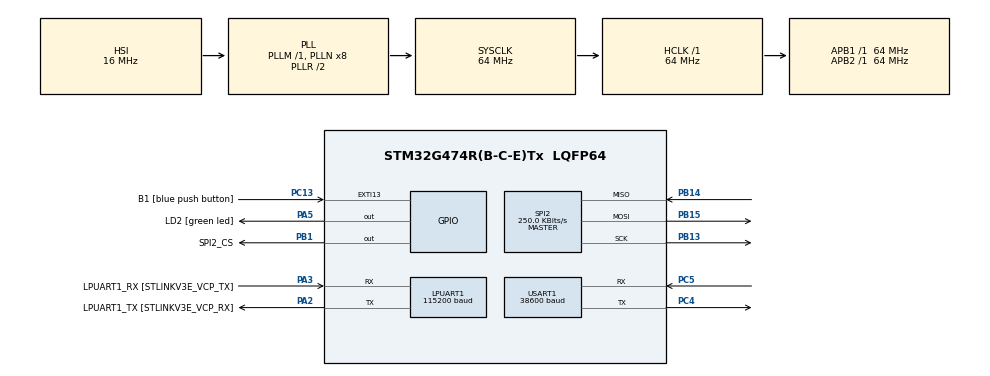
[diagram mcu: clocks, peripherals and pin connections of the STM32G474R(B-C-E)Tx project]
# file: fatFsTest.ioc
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FATFS._MAX_SS=4096
LPUART1.BaudRate=115200
Mcu.Family=STM32G4
Mcu.Name=STM32G474R(B-C-E)Tx
Mcu.Package=LQFP64
NVIC.EXTI15_10_IRQn=true\:0\:0\:false\:false\:true\:true\:true\:true
NVIC.LPUART1_IRQn=true\:0\:0\:false\:false\:true\:true\:true\:true
NVIC.PriorityGroup=NVIC_PRIORITYGROUP_4
NVIC.USART1_IRQn=true\:0\:0\:false\:false\:true\:true\:true\:true
PA13.GPIO_Label=T_SWDIO
PA13.Mode=Serial_Wire
PA13.Signal=SYS_JTMS-SWDIO
PA14.GPIO_Label=T_SWCLK
PA14.Mode=Serial_Wire
PA14.Signal=SYS_JTCK-SWCLK
PA2.GPIO_Label=LPUART1_TX [STLINKV3E_VCP_RX]
PA2.Mode=Asynchronous
PA2.Signal=LPUART1_TX
PA3.GPIO_Label=LPUART1_RX [STLINKV3E_VCP_TX]
PA3.Mode=Asynchronous
PA3.Signal=LPUART1_RX
PA5.GPIO_Label=LD2 [green led]
PA5.Signal=GPIO_Output
PB1.GPIO_Label=SPI2_CS
PB1.GPIO_PuPd=GPIO_PULLUP
PB1.PinState=GPIO_PIN_SET
PB1.Signal=GPIO_Output
PB13.GPIO_PuPd=GPIO_NOPULL
PB13.Mode=Full_Duplex_Master
PB13.Signal=SPI2_SCK
PB14.GPIO_PuPd=GPIO_NOPULL
PB14.Mode=Full_Duplex_Master
PB14.Signal=SPI2_MISO
PB15.GPIO_PuPd=GPIO_NOPULL
PB15.Mode=Full_Duplex_Master
PB15.Signal=SPI2_MOSI
PB3.GPIO_Label=T_SWO
PB3.Signal=SYS_JTDO-SWO
PC13.GPIO_Label=B1 [blue push button]
PC13.Signal=GPXTI13
PC14-OSC32_IN.GPIO_Label=RCC_OSC32_IN
PC14-OSC32_IN.Signal=RCC_OSC32_IN
PC15-OSC32_OUT.GPIO_Label=RCC_OSC32_OUT
PC15-OSC32_OUT.Signal=RCC_OSC32_OUT
PC4.Mode=Asynchronous
PC4.Signal=USART1_TX
PC5.Mode=Asynchronous
PC5.Signal=USART1_RX
PF0-OSC_IN.GPIO_Label=RCC_OSC_IN
PF0-OSC_IN.Signal=RCC_OSC_IN
PF1-OSC_OUT.GPIO_Label=RCC_OSC_OUT
PF1-OSC_OUT.Signal=RCC_OSC_OUT
ProjectManager.HeapSize=0x200
ProjectManager.StackSize=0x400
ProjectManager.TargetToolchain=STM32CubeIDE
RCC.ADC12Freq_Value=64000000
RCC.ADC345Freq_Value=64000000
RCC.AHBFreq_Value=64000000
RCC.APB1Freq_Value=64000000
RCC.APB1TimFreq_Value=64000000
RCC.APB2Freq_Value=64000000
RCC.APB2TimFreq_Value=64000000
RCC.CortexFreq_Value=64000000
RCC.EXTERNAL_CLOCK_VALUE=12288000
RCC.HCLKFreq_Value=64000000
RCC.HSE_VALUE=24000000
RCC.HSI48_VALUE=48000000
RCC.HSI_VALUE=16000000
RCC.LSE_VALUE=32768
RCC.RTCClockSelection=RCC_RTCCLKSOURCE_LSE
RCC.SYSCLKFreq_VALUE=64000000
RCC.SYSCLKSource=RCC_SYSCLKSOURCE_PLLCLK
RCC.USBFreq_Value=64000000
RCC.VCOOutputFreq_Value=128000000
SPI2.BaudRatePrescaler=SPI_BAUDRATEPRESCALER_256
SPI2.CalculateBaudRate=250.0 KBits/s
SPI2.DataSize=SPI_DATASIZE_8BIT
SPI2.Direction=SPI_DIRECTION_2LINES
SPI2.Mode=SPI_MODE_MASTER
SPI2.VirtualType=VM_MASTER
USART1.BaudRate=38600
USART1.VirtualMode-Asynchronous=VM_ASYNC
VP_FATFS_VS_Generic.Mode=User_defined
VP_SYS_VS_DBSignals.Mode=DisableDeadBatterySignals
board=NUCLEO-G474RE

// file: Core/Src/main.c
/* USER CODE BEGIN Header */
/**
  ******************************************************************************
  * @file           : main.c
  * @brief          : Main program body
  ******************************************************************************
  * @attention
  *
  * Copyright (c) 2025 STMicroelectronics.
  * All rights reserved.
  *
  * This software is licensed under terms that can be found in the LICENSE file
  * in the root directory of this software component.
  * If no LICENSE file comes with this software, it is provided AS-IS.
  *
  ******************************************************************************
  */
/* USER CODE END Header */
#include "main.h"
#include "app_fatfs.h"
#include "usart.h"
#include "spi.h"
#include "gpio.h"

/* USER CODE BEGIN Includes */
#include "string.h"
#include "stdio.h"
#include "stdarg.h"
/* USER CODE END Includes */

/* USER CODE BEGIN PD */
//#define RX_BUFFER_SIZE 32768
#define RX_BUFFER_SIZE 1024
/* USER CODE END PD */

/* USER CODE BEGIN PV */

//for SD card
void myprintf(const char *fmt, ...);

extern UART_HandleTypeDef hlpuart1;
extern UART_HandleTypeDef huart1;
uint8_t rxLPUART;
uint8_t rxUSART;
char msg[64];
uint8_t msg_index = 0;
uint8_t extiFlag = 0;

uint8_t uart_rx_byte;
uint8_t uart_rx_buffer[RX_BUFFER_SIZE];
volatile uint16_t rx_head = 0;
volatile uint16_t rx_tail = 0;
volatile uint8_t bufferOverflow = 0;
char msg_buffer[64];

char rxBuffer[128];
char txBuffer[16];

/* Variáveis de dados */
float fuelRate = 0.0f;
float fuelLevel = 0.0f;
float engineTorque = 0.0f;
float engineLoad = 0.0f;
float rpm = 0.0f;
float speed = 0.0f;
float gear = 0.0f;
float throttle = 0.0f;
/* USER CODE END PV */

void SystemClock_Config(void);
/* USER CODE BEGIN PFP */
HAL_StatusTypeDef ELM327_SendCmd(UART_HandleTypeDef *huart, const char *cmd)
{
    char rx;
    char buffer[64];
    uint8_t index = 0;
    uint32_t start;

    // Envia comando
    HAL_UART_Transmit(huart, (uint8_t*)cmd, strlen(cmd), HAL_MAX_DELAY);

    start = HAL_GetTick();
    while (HAL_GetTick() - start < 1000)  // Timeout 1s
    {
        if (HAL_UART_Receive(huart, (uint8_t*)&rx, 1, 10) == HAL_OK)
        {
            if (index < sizeof(buffer)-1)
                buffer[index++] = rx;

            // Verifica se buffer termina com "OK\r"
            if (index >= 3)
            {
                if (buffer[index-3] == 'O' &&
                    buffer[index-2] == 'K' &&
                    buffer[index-1] == '\r')
                {
                    // OK recebido
                    HAL_UART_Transmit(&hlpuart1, (uint8_t*)buffer, index, HAL_MAX_DELAY);
                    return HAL_OK;
                }
            }
        }
    }

    // Timeout
    HAL_UART_Transmit(&hlpuart1, (uint8_t*)"Timeout ELM327\r\n", 17, HAL_MAX_DELAY);
    return HAL_TIMEOUT;
}

int OBD_ReceiveLine(UART_HandleTypeDef *huart, char *buffer, uint16_t maxlen, uint32_t timeout)
{ uint8_t c; uint16_t i = 0;
uint32_t start = HAL_GetTick();
while (HAL_GetTick() - start < timeout)
{
	if (HAL_UART_Receive(huart, &c, 1, 100) == HAL_OK)
	{
		if (c == '>') break; // prompt do ELM327 if (i < maxlen - 1) buffer[i++] = c; } } buffer[i] = '\0'; return i; }
	}
}
}

// inicia ELM327
void ELM327_Init_Debug(UART_HandleTypeDef *huart)
{
    //const char *init_cmds[] = {"ATZ\r", "ATE0\r", "ATL0\r", "ATS0\r", "ATSP0\r"};
    const char *init_cmds[] = {"ATZ\r"};
    for (uint8_t i = 0; i < sizeof(init_cmds)/sizeof(init_cmds[0]); i++)
    {
    	ELM327_SendCmd(huart, init_cmds[i]);
    	HAL_Delay(500);
    }

    HAL_UART_Transmit(&hlpuart1, (uint8_t*)"ELM327 inicializado com sucesso!\r\n", 35, HAL_MAX_DELAY);
}

/* Conversão hexadecimal -> byte */
uint8_t hexToByte(const char *hex)
{
    uint8_t val = 0;
    for (int i = 0; i < 2; i++)
    {
        char c = hex[i];
        val <<= 4;
        if (c >= '0' && c <= '9') val |= c - '0';
        else if (c >= 'A' && c <= 'F') val |= c - 'A' + 10;
        else if (c >= 'a' && c <= 'f') val |= c - 'a' + 10;
    }
    return val;
}

/**
 * @brief Envia comando OBD-II para o ELM327 (ex: "010C")
 */
void OBD_SendCommand(UART_HandleTypeDef *huart, const char *pid)
{
    char cmd[8];
    snprintf(cmd, sizeof(cmd), "%s\r", pid);
    HAL_UART_Transmit(huart, (uint8_t*)cmd, strlen(cmd), HAL_MAX_DELAY);
}

/* Envia PID e faz parsing */
void OBD_RequestAndParse(const char *pid)
{
    char cmd[8];
    sprintf(cmd, "%s\r", pid);

    HAL_UART_Transmit(&huart1, (uint8_t*)cmd, strlen(cmd), HAL_MAX_DELAY);

    memset(rxBuffer, 0, sizeof(rxBuffer));
    OBD_ReceiveLine(&huart1, rxBuffer, sizeof(rxBuffer), 200);

    char A_hex[3] = {0}, B_hex[3] = {0};
    uint8_t A = 0, B = 0;

    if (strncmp(pid, "015E", 4) == 0)  // Taxa combustível
    {
        if (sscanf(rxBuffer, "41 5E %2s %2s", A_hex, B_hex) == 2)
        {
            A = hexToByte(A_hex); B = hexToByte(B_hex);
            fuelRate = ((A * 256.0f) + B) / 20.0f;
        }
    }
    else if (strncmp(pid, "012F", 4) == 0) // Nível tanque
    {
        if (sscanf(rxBuffer, "41 2F %2s", A_hex) == 1)
            fuelLevel = (hexToByte(A_hex) * 100.0f) / 255.0f;
    }
    else if (strncmp(pid, "0161", 4) == 0) // Torque
    {
        if (sscanf(rxBuffer, "41 61 %2s %2s", A_hex, B_hex) == 2)
        {
            A = hexToByte(A_hex); B = hexToByte(B_hex);
            engineTorque = ((A * 256.0f) + B) / 10.0f;
        }
    }
    else if (strncmp(pid, "0104", 4) == 0) // Carga do motor
    {
        if (sscanf(rxBuffer, "41 04 %2s", A_hex) == 1)
            engineLoad = (hexToByte(A_hex) * 100.0f) / 255.0f;
    }
    else if (strncmp(pid, "010C", 4) == 0) // RPM
    {
        if (sscanf(rxBuffer, "41 0C %2s %2s", A_hex, B_hex) == 2)
        {
            A = hexToByte(A_hex); B = hexToByte(B_hex);
            rpm = ((A * 256.0f) + B) / 4.0f;
        }
    }
    else if (strncmp(pid, "010D", 4) == 0) // Velocidade
    {
        if (sscanf(rxBuffer, "41 0D %2s", A_hex) == 1)
            speed = hexToByte(A_hex);
    }
    else if (strncmp(pid, "01A4", 4) == 0) // Engrenagem atual
    {
        if (sscanf(rxBuffer, "41 A4 %2s", A_hex) == 1)
            gear = hexToByte(A_hex);
    }
    else if (strncmp(pid, "0111", 4) == 0) // Acelerador
    {
        if (sscanf(rxBuffer, "41 11 %2s", A_hex) == 1)
            throttle = (hexToByte(A_hex) * 100.0f) / 255.0f;
    }
}

/* USER CODE END PFP */

/* USER CODE BEGIN 0 */

void myprintf(const char *fmt, ...) {
  static char buffer[256];
  va_list args;
  va_start(args, fmt);
  vsnprintf(buffer, sizeof(buffer), fmt, args);
  va_end(args);

  int len = strlen(buffer);
  HAL_UART_Transmit(&hlpuart1, (uint8_t*)buffer, len, -1);

}

//const char *obd_cmds[] = {"010C\r", "010D\r", "0111\r"};
//#define NUM_CMDS (sizeof(obd_cmds) / sizeof(obd_cmds[0]))
/* USER CODE END 0 */

int main(void)
{

  /* MCU Configuration--------------------------------------------------------*/

  /* Reset of all peripherals, Initializes the Flash interface and the Systick. */
  HAL_Init();

  /* Configure the system clock */
  SystemClock_Config();

  /* Initialize all configured peripherals */
  MX_GPIO_Init();
  MX_LPUART1_UART_Init();
  MX_USART1_UART_Init();
  MX_SPI2_Init();
  if (MX_FATFS_Init() != APP_OK) {
    Error_Handler();
  }
  /* USER CODE BEGIN 2 */

  //char *msg = "Bridge UART1 <-> LPUART1 iniciada\r\n";
  //HAL_UART_Transmit(&hlpuart1, (uint8_t*)msg, strlen(msg), HAL_MAX_DELAY);

  /* Inicia recepção em ambas UARTs */
  HAL_UART_Receive_IT(&hlpuart1, &rxLPUART, 1);
  HAL_UART_Receive_IT(&huart1, &rxUSART, 1);

  /* Inicializa o ELM327 antes de iniciar os comandos OBD */
  ELM327_Init_Debug(&huart1);

  //uint32_t tick_ant = HAL_GetTick();
  //uint8_t cmd_index = 0;

  //char debug[128];
  //const char *pids[] = {"015E", "012F", "0161", "0104", "010C", "010D", "01A4", "0111"};
  const char *pids[] = {"010C"};
  const uint8_t num_pids = sizeof(pids) / sizeof(pids[0]);

  uint32_t lastTick = HAL_GetTick();

  myprintf("\r\n~ SD card demo by kiwih ~\r\n\r\n");

    HAL_Delay(2000); //a short delay is important to let the SD card settle

//    //some variables for FatFs
//    FATFS FatFs; 	//Fatfs handle
//    FIL fil; 		//File handle
//    FRESULT fres; //Result after operations
//
//    //Open the file system
//    fres = f_mount(&FatFs, "", 1); //1=mount now
//    if (fres != FR_OK) {
//  	myprintf("f_mount error (%i)\r\n", fres);
//  	while(1);
//    }
//
//    //Let's get some statistics from the SD card
//    DWORD free_clusters, free_sectors, total_sectors;
//
//    FATFS* getFreeFs;
//
//    fres = f_getfree("", &free_clusters, &getFreeFs);
//    if (fres != FR_OK) {
//  	myprintf("f_getfree error (%i)\r\n", fres);
//  	while(1);
//    }
//
//    //Formula comes from ChaN's documentation
//    total_sectors = (getFreeFs->n_fatent - 2) * getFreeFs->csize;
//    free_sectors = free_clusters * getFreeFs->csize;
//
//    myprintf("SD card stats:\r\n%10lu KiB total drive space.\r\n%10lu KiB available.\r\n", total_sectors / 2, free_sectors / 2);
//
//    //Now let's try to open file "test.txt"
//    fres = f_open(&fil, "test.txt", FA_READ);
//    if (fres != FR_OK) {
//  	myprintf("f_open error (%i)\r\n", fres);
//  	while(1);
//    }
//    myprintf("I was able to open 'test.txt' for reading!\r\n");
//
//    //Read 30 bytes from "test.txt" on the SD card
//    BYTE readBuf[30];
//
//    //We can either use f_read OR f_gets to get data out of files
//    //f_gets is a wrapper on f_read that does some string formatting for us
//    TCHAR* rres = f_gets((TCHAR*)readBuf, 30, &fil);
//    if(rres != 0) {
//  	myprintf("Read string from 'test.txt' contents: %s\r\n", readBuf);
//    } else {
//  	myprintf("f_gets error (%i)\r\n", fres);
//    }
//
//    //Be a tidy kiwi - don't forget to close your file!
//    f_close(&fil);
//
//    //Now let's try and write a file "write.txt"
//    fres = f_open(&fil, "write.txt", FA_WRITE | FA_OPEN_ALWAYS | FA_CREATE_ALWAYS);
//    if(fres == FR_OK) {
//  	myprintf("I was able to open 'write.txt' for writing\r\n");
//    } else {
//  	myprintf("f_open error (%i)\r\n", fres);
//    }
//
//    //Copy in a string
//    strncpy((char*)readBuf, "a new file is made!", 19);
//    UINT bytesWrote;
//    fres = f_write(&fil, readBuf, 19, &bytesWrote);
//    if(fres == FR_OK) {
//  	myprintf("Wrote %i bytes to 'write.txt'!\r\n", bytesWrote);
//    } else {
//  	myprintf("f_write error (%i)\r\n", fres);
//    }
//
//    //Be a tidy kiwi - don't forget to close your file!
//    f_close(&fil);
//
//    //We're done, so de-mount the drive
//    f_mount(NULL, "", 0);

  /* USER CODE END 2 */

  /* Infinite loop */
  /* USER CODE BEGIN WHILE */
  while (1)
  {
      if (HAL_GetTick() - lastTick >= 1000)
      {
          lastTick = HAL_GetTick();

          for (uint8_t i = 0; i < num_pids; i++)
              OBD_RequestAndParse(pids[i]);

//          sprintf(debug,
//        		  "\r\nFuelRate: %.2f L/h | FuelLvl: %.1f %% | Torque: %.1f Nm | Load: %.1f %% | RPM: %.0f | Vel: %.0f km/h | Gear: %.0f | Throttle: %.1f %%\r\n", // @suppress("Float formatting support")
//              fuelRate, fuelLevel, engineTorque, engineLoad, rpm, speed, gear, throttle);

          //HAL_UART_Transmit(&hlpuart1, (uint8_t*)debug, strlen(debug), HAL_MAX_DELAY);
      }
	extiFlag = 0;
    /* USER CODE END WHILE */

  }
}

void SystemClock_Config(void)
{
  RCC_OscInitTypeDef RCC_OscInitStruct = {0};
  RCC_ClkInitTypeDef RCC_ClkInitStruct = {0};

  /** Configure the main internal regulator output voltage
  */
  HAL_PWREx_ControlVoltageScaling(PWR_REGULATOR_VOLTAGE_SCALE1);

  /** Initializes the RCC Oscillators according to the specified parameters
  * in the RCC_OscInitTypeDef structure.
  */
  RCC_OscInitStruct.OscillatorType = RCC_OSCILLATORTYPE_HSI;
  RCC_OscInitStruct.HSIState = RCC_HSI_ON;
  RCC_OscInitStruct.HSICalibrationValue = RCC_HSICALIBRATION_DEFAULT;
  RCC_OscInitStruct.PLL.PLLState = RCC_PLL_ON;
  RCC_OscInitStruct.PLL.PLLSource = RCC_PLLSOURCE_HSI;
  RCC_OscInitStruct.PLL.PLLM = RCC_PLLM_DIV1;
  RCC_OscInitStruct.PLL.PLLN = 8;
  RCC_OscInitStruct.PLL.PLLP = RCC_PLLP_DIV2;
  RCC_OscInitStruct.PLL.PLLQ = RCC_PLLQ_DIV2;
  RCC_OscInitStruct.PLL.PLLR = RCC_PLLR_DIV2;
  if (HAL_RCC_OscConfig(&RCC_OscInitStruct) != HAL_OK)
  {
    Error_Handler();
  }

  /** Initializes the CPU, AHB and APB buses clocks
  */
  RCC_ClkInitStruct.ClockType = RCC_CLOCKTYPE_HCLK|RCC_CLOCKTYPE_SYSCLK
                              |RCC_CLOCKTYPE_PCLK1|RCC_CLOCKTYPE_PCLK2;
  RCC_ClkInitStruct.SYSCLKSource = RCC_SYSCLKSOURCE_PLLCLK;
  RCC_ClkInitStruct.AHBCLKDivider = RCC_SYSCLK_DIV1;
  RCC_ClkInitStruct.APB1CLKDivider = RCC_HCLK_DIV1;
  RCC_ClkInitStruct.APB2CLKDivider = RCC_HCLK_DIV1;

  if (HAL_RCC_ClockConfig(&RCC_ClkInitStruct, FLASH_LATENCY_2) != HAL_OK)
  {
    Error_Handler();
  }
}

/* USER CODE BEGIN 4 */
void HAL_UART_RxCpltCallback(UART_HandleTypeDef *huart)
{
    if (huart->Instance == USART1)
    {
        // Armazena o byte recebido no buffer
        if (msg_index < sizeof(msg) - 1)
        {
            msg[msg_index++] = rxUSART;
        }

        uint16_t next_head = (rx_head + 1) % RX_BUFFER_SIZE;

		if (next_head != rx_tail) // evita overflow
		{
			uart_rx_buffer[rx_head] = rxUSART;
			rx_head = next_head;
		}
		else
			bufferOverflow = 1;

        // Se recebeu '\r', envia toda a mensagem acumulada para a LPUART1
        if (rxUSART == '\r')
        {
            // Transmite a mensagem completa
            HAL_UART_Transmit(&hlpuart1, (uint8_t*)msg, msg_index, HAL_MAX_DELAY);

            // Adiciona nova linha no terminal
            uint8_t newline[2] = {'\r', '\n'};
            HAL_UART_Transmit(&hlpuart1, newline, 2, HAL_MAX_DELAY);

            // Reseta o índice do buffer
            msg_index = 0;
            memset(msg, 0, sizeof(msg));
        }

        // Reinicia a recepção do próximo byte
        HAL_UART_Receive_IT(&huart1, &rxUSART, 1);
    }
    else if (huart->Instance == LPUART1)
    {
        // Para recepção do PC, apenas retransmite imediatamente para USART1
        //HAL_UART_Transmit(&huart1, &rxLPUART, 1, HAL_MAX_DELAY);

        // Reinicia a recepção
        HAL_UART_Receive_IT(&hlpuart1, &rxLPUART, 1);
    }
}

/* USER CODE END 4 */

void Error_Handler(void)
{
  __disable_irq();
  while (1)
  {
  }
}
